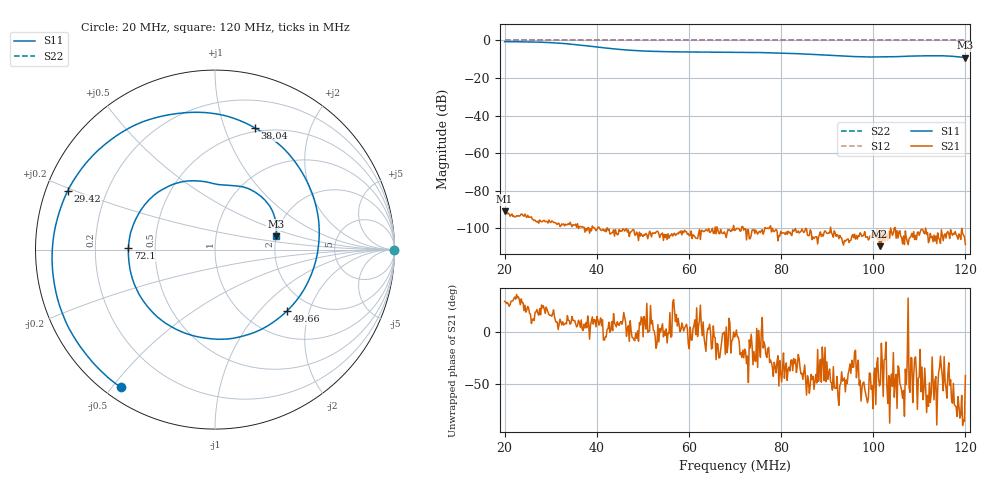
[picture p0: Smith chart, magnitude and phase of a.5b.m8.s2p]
! Anritsu VNA Master:  Model: MS2036C/10/77
! SN:  1601066
! /bd0/18may8/255.ns.m8.s2p
! Existing Calibration Information:
! TYPE:  Current Settings,  Active Cal Settings
! TIME:  05/08/2018 01:05:07 PM,  05/08/2018 01:00:27 PM
! INTERNAL TEMP:  60.0 C,  60.0 C
! # POINTS:  500,  500
! START FREQ:  20.000 MHz,  20.000 MHz
! STOP FREQ:  120.000 MHz,  120.000 MHz
! SOURCE POWER:  High,  High
! IFBW:  50 Hz,  50 Hz
! AVG FACTOR:  1 ,  1
! REF PLANE 1:  0 mm,  0 mm
! REF PLANE 2:  0 mm,  0 mm
! CAL TYPE:  Full S11,  Full S11
! CAL METHOD:  SOLT,  SOLT
! CAL LINE TYPE:  Coax,  Coax
! DUT PORT 1:  K-Conn(F),  K-Conn(F)
! DUT PORT 2:  K-Conn(F),  K-Conn(F)
! CAL STATUS:  OK: Accuracy High,  --
# GHZ S DB R 50.0
! FREQ.GHZ  S11DB  S11A  S21DB  S21A  S12DB  S12A  S22DB  S22A
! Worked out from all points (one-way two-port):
!   500 points, 20 MHz to 120 MHz, reference 50 ohm
!   highest |S21| = -91.00 dB at 20 MHz (marker M1); lowest = -109.6 dB at 101.4 MHz (marker M2)
!   lowest |S11| = -9.2 dB at 120 MHz (marker M3), VSWR 2.06, Z = 99.3 + j16.7 ohm
!   |S11| at or under -10 dB: nowhere
!   |S22| runs from 0.0 to 0.0 dB; largest |S21 - S12| = 1
!   S11 on the Smith chart (normalised r, x): 20 MHz: 0.05, -0.53; 29.42 MHz: 0.06, +0.19; 38.04 MHz: 0.46, +1.27; 49.66 MHz: 1.52, -1.44; 72.1 MHz: 0.35, +0.01; 120 MHz: 1.99, +0.33
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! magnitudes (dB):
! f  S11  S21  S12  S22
! 20 MHz  -0.6  -91.0  0.0  0.0
! 25.01 MHz  -0.7  -93.1  0.0  0.0
! 29.42 MHz  -1.1  -97.3  0.0  0.0
! 33.03 MHz  -1.7  -98.8  0.0  0.0
! 36.83 MHz  -2.6  -99.2  0.0  0.0
! 38.04 MHz  -2.9  -99.8  0.0  0.0
! 44.65 MHz  -4.7  -103.4  0.0  0.0
! 49.66 MHz  -5.6  -103.0  0.0  0.0
! 53.47 MHz  -5.9  -103.0  0.0  0.0
! 57.27 MHz  -6.1  -103.4  0.0  0.0
! 70.1 MHz  -6.3  -101.0  0.0  0.0
! 72.1 MHz  -6.3  -100.3  0.0  0.0
! 80.52 MHz  -6.8  -102.5  0.0  0.0
! 86.73 MHz  -7.4  -106.1  0.0  0.0
! 96.75 MHz  -8.7  -103.9  0.0  0.0
! 98.76 MHz  -8.8  -104.7  0.0  0.0
! 101.4 MHz  -8.8  -109.6  0.0  0.0
! 103.4 MHz  -8.7  -101.8  0.0  0.0
! 109.8 MHz  -8.2  -102.1  0.0  0.0
! 114 MHz  -8.1  -102.5  0.0  0.0
! 117 MHz  -8.4  -102.8  0.0  0.0
! 120 MHz  -9.2  -108.7  0.0  0.0
